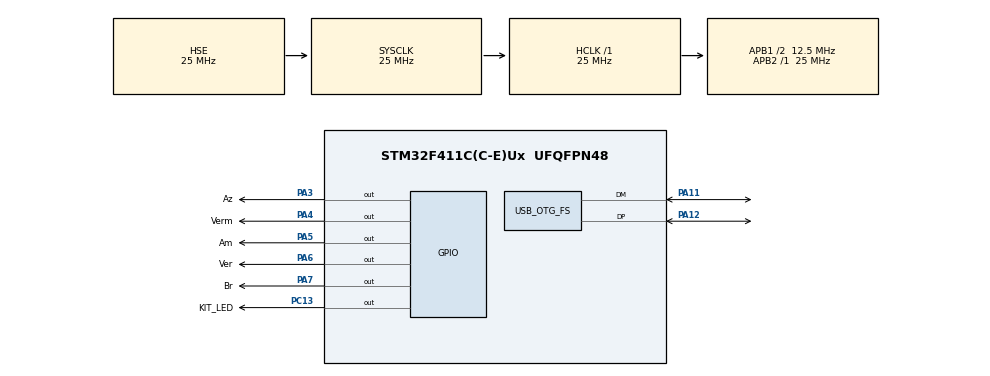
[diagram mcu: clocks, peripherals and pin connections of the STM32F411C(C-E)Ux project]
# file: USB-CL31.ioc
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Mcu.Family=STM32F4
Mcu.Name=STM32F411C(C-E)Ux
Mcu.Package=UFQFPN48
NVIC.OTG_FS_IRQn=true\:0\:0\:false\:false\:true\:true\:true\:true
NVIC.PriorityGroup=NVIC_PRIORITYGROUP_4
PA11.Mode=Device_Only
PA11.Signal=USB_OTG_FS_DM
PA12.Mode=Device_Only
PA12.Signal=USB_OTG_FS_DP
PA13.Mode=Serial_Wire
PA13.Signal=SYS_JTMS-SWDIO
PA14.Mode=Serial_Wire
PA14.Signal=SYS_JTCK-SWCLK
PA3.GPIO_Label=Az
PA3.Signal=GPIO_Output
PA4.GPIO_Label=Verm
PA4.Signal=GPIO_Output
PA5.GPIO_Label=Am
PA5.Signal=GPIO_Output
PA6.GPIO_Label=Ver
PA6.Signal=GPIO_Output
PA7.GPIO_Label=Br
PA7.Signal=GPIO_Output
PC13-ANTI_TAMP.GPIO_Label=KIT_LED
PC13-ANTI_TAMP.Signal=GPIO_Output
PC14-OSC32_IN.Mode=LSE-External-Oscillator
PC14-OSC32_IN.Signal=RCC_OSC32_IN
PC15-OSC32_OUT.Mode=LSE-External-Oscillator
PC15-OSC32_OUT.Signal=RCC_OSC32_OUT
PH0\ -\ OSC_IN.Mode=HSE-External-Oscillator
PH0\ -\ OSC_IN.Signal=RCC_OSC_IN
PH1\ -\ OSC_OUT.Mode=HSE-External-Oscillator
PH1\ -\ OSC_OUT.Signal=RCC_OSC_OUT
ProjectManager.HeapSize=0x200
ProjectManager.StackSize=0x400
ProjectManager.TargetToolchain=Makefile
RCC.48MHZClocksFreq_Value=48000000
RCC.AHBFreq_Value=25000000
RCC.APB1CLKDivider=RCC_HCLK_DIV2
RCC.APB1Freq_Value=12500000
RCC.APB1TimFreq_Value=25000000
RCC.APB2Freq_Value=25000000
RCC.APB2TimFreq_Value=25000000
RCC.CortexFreq_Value=25000000
RCC.HCLKFreq_Value=25000000
RCC.HSE_VALUE=25000000
RCC.HSI_VALUE=16000000
RCC.PLLM=15
RCC.PLLN=144
RCC.PLLQ=5
RCC.SYSCLKFreq_VALUE=25000000
RCC.SYSCLKSource=RCC_SYSCLKSOURCE_HSE
RCC.VCOOutputFreq_Value=240000000
USB_DEVICE.CLASS_NAME_FS=CDC
USB_DEVICE.VirtualMode=Cdc
USB_DEVICE.VirtualModeFS=Cdc_FS
USB_OTG_FS.VirtualMode=Device_Only
VP_USB_DEVICE_VS_USB_DEVICE_CDC_FS.Mode=CDC_FS
board=custom

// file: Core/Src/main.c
/* USER CODE BEGIN Header */
/**
  ******************************************************************************
  * @file           : main.c
  * @brief          : Main program body
  ******************************************************************************
  * @attention
  *
  * Copyright (c) 2022 STMicroelectronics.
  * All rights reserved.
  *
  * This software is licensed under terms that can be found in the LICENSE file
  * in the root directory of this software component.
  * If no LICENSE file comes with this software, it is provided AS-IS.
  *
  ******************************************************************************
  */
/* USER CODE END Header */
#include "main.h"
#include "usb_device.h"

/* USER CODE BEGIN Includes */
#include "usbd_cdc_if.h"
/* USER CODE END Includes */

/* USER CODE BEGIN PV */
uint8_t bufferS[255];
/* USER CODE END PV */

void SystemClock_Config(void);
static void MX_GPIO_Init(void);

int main(void)
{

  /* USER CODE BEGIN 1 */
  uint8_t conta_led = 0, subindo = 1, bufferT[255];
  /* USER CODE END 1 */

  /* MCU Configuration--------------------------------------------------------*/

  /* Reset of all peripherals, Initializes the Flash interface and the Systick. */
  HAL_Init();

  /* Configure the system clock */
  SystemClock_Config();

  /* Initialize all configured peripherals */
  MX_GPIO_Init();
  MX_USB_DEVICE_Init();
  /* USER CODE BEGIN 2 */
void Manipula_Leds(uint8_t estado)
{
  HAL_GPIO_WritePin(GPIOA, conta_led<<3, 1);
  HAL_GPIO_WritePin(GPIOA, ~(conta_led)<<3, 0);
  estado?
    conta_led++ :
    conta_led--;
  HAL_Delay(250);
}
  /* USER CODE END 2 */

  /* Infinite loop */
  /* USER CODE BEGIN WHILE */
  while (1)
  {
    // Pisca Luz no black:
      HAL_GPIO_TogglePin(GPIOC, GPIO_PIN_13);

    if (subindo)
    {
      //Aqui a funcao comeca em 0, entao precisa ser chamada antes da condicao de contorno
      Manipula_Leds(subindo); // Subindo == true

      //Condição de contorno (chamada imediatamente apos conta_led se tornar 31):
      if (conta_led == 31)
      {
        subindo = 0; // subindo == false
        HAL_Delay(1000); // Pausa de 1 segundo ao chegar em 0
      }

    }
    else
    {
      //Condição de contorno (chamada imediatamente antes de conta_led se tornar 255):
      if (conta_led == 0)
      {
        subindo = 1; // subindo == true
        HAL_Delay(1000); // Pausa de 1 segundo ao chegar em 0
      }

      //Aqui a funcao comeca em 31, entao precisa ser chamada depois da condicao de contorno
      Manipula_Leds(subindo); // Subindo == false

    }

    subindo?
      sprintf(bufferT, "Leitura em conta_led esta subindo\r\nAtualmente tem o valor de : %d \r\n", conta_led) :
      sprintf(bufferT, "Leitura em conta_led esta descendo\r\nAtualmente tem o valor de : %d \r\n", conta_led);
    CDC_Transmit_FS(bufferT, strlen(bufferT));

    if (bufferS[0] != 0)
      switch (bufferS[0])
      {
        case 103:
          sprintf(bufferT, "Pressionaste g!\r\n");
          CDC_Transmit_FS(bufferT, strlen(bufferT));
          if (subindo) subindo = 0; else subindo = 1 ;
          break;
        default:
          sprintf(bufferT, "Comando nao reconhecido: %c (%u)\r\n", bufferS[0], bufferS[0]);
          CDC_Transmit_FS(bufferT, strlen(bufferT));
          break;
      }
    bufferS[0] = 0; // Estranhamente necessario zerar o bufferS para nova leitura apesar de ja ser feito na rotina de recepção do CDC

    /* USER CODE END WHILE */

  }
}

void SystemClock_Config(void)
{
  RCC_OscInitTypeDef RCC_OscInitStruct = {0};
  RCC_ClkInitTypeDef RCC_ClkInitStruct = {0};

  /** Configure the main internal regulator output voltage
  */
  __HAL_RCC_PWR_CLK_ENABLE();
  __HAL_PWR_VOLTAGESCALING_CONFIG(PWR_REGULATOR_VOLTAGE_SCALE1);

  /** Initializes the RCC Oscillators according to the specified parameters
  * in the RCC_OscInitTypeDef structure.
  */
  RCC_OscInitStruct.OscillatorType = RCC_OSCILLATORTYPE_HSE;
  RCC_OscInitStruct.HSEState = RCC_HSE_ON;
  RCC_OscInitStruct.PLL.PLLState = RCC_PLL_ON;
  RCC_OscInitStruct.PLL.PLLSource = RCC_PLLSOURCE_HSE;
  RCC_OscInitStruct.PLL.PLLM = 15;
  RCC_OscInitStruct.PLL.PLLN = 144;
  RCC_OscInitStruct.PLL.PLLP = RCC_PLLP_DIV2;
  RCC_OscInitStruct.PLL.PLLQ = 5;
  if (HAL_RCC_OscConfig(&RCC_OscInitStruct) != HAL_OK)
  {
    Error_Handler();
  }

  /** Initializes the CPU, AHB and APB buses clocks
  */
  RCC_ClkInitStruct.ClockType = RCC_CLOCKTYPE_HCLK|RCC_CLOCKTYPE_SYSCLK
                              |RCC_CLOCKTYPE_PCLK1|RCC_CLOCKTYPE_PCLK2;
  RCC_ClkInitStruct.SYSCLKSource = RCC_SYSCLKSOURCE_HSE;
  RCC_ClkInitStruct.AHBCLKDivider = RCC_SYSCLK_DIV1;
  RCC_ClkInitStruct.APB1CLKDivider = RCC_HCLK_DIV2;
  RCC_ClkInitStruct.APB2CLKDivider = RCC_HCLK_DIV1;

  if (HAL_RCC_ClockConfig(&RCC_ClkInitStruct, FLASH_LATENCY_0) != HAL_OK)
  {
    Error_Handler();
  }
}

static void MX_GPIO_Init(void)
{
  GPIO_InitTypeDef GPIO_InitStruct = {0};

  /* GPIO Ports Clock Enable */
  __HAL_RCC_GPIOC_CLK_ENABLE();
  __HAL_RCC_GPIOH_CLK_ENABLE();
  __HAL_RCC_GPIOA_CLK_ENABLE();

  /*Configure GPIO pin Output Level */
  HAL_GPIO_WritePin(KIT_LED_GPIO_Port, KIT_LED_Pin, GPIO_PIN_RESET);

  /*Configure GPIO pin Output Level */
  HAL_GPIO_WritePin(GPIOA, Az_Pin|Verm_Pin|Am_Pin|Ver_Pin
                          |Br_Pin, GPIO_PIN_RESET);

  /*Configure GPIO pin : KIT_LED_Pin */
  GPIO_InitStruct.Pin = KIT_LED_Pin;
  GPIO_InitStruct.Mode = GPIO_MODE_OUTPUT_PP;
  GPIO_InitStruct.Pull = GPIO_NOPULL;
  GPIO_InitStruct.Speed = GPIO_SPEED_FREQ_LOW;
  HAL_GPIO_Init(KIT_LED_GPIO_Port, &GPIO_InitStruct);

  /*Configure GPIO pins : Az_Pin Verm_Pin Am_Pin Ver_Pin
                           Br_Pin */
  GPIO_InitStruct.Pin = Az_Pin|Verm_Pin|Am_Pin|Ver_Pin
                          |Br_Pin;
  GPIO_InitStruct.Mode = GPIO_MODE_OUTPUT_PP;
  GPIO_InitStruct.Pull = GPIO_NOPULL;
  GPIO_InitStruct.Speed = GPIO_SPEED_FREQ_LOW;
  HAL_GPIO_Init(GPIOA, &GPIO_InitStruct);

}

void Error_Handler(void)
{
  __disable_irq();
  while (1)
  {
  }
}
